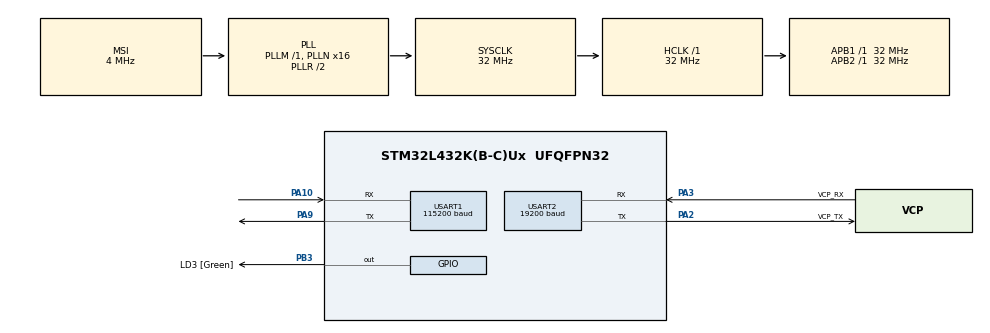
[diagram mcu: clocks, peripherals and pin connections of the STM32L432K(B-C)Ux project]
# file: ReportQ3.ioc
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Mcu.Family=STM32L4
Mcu.Name=STM32L432K(B-C)Ux
Mcu.Package=UFQFPN32
NVIC.PriorityGroup=NVIC_PRIORITYGROUP_4
NVIC.USART1_IRQn=true\:0\:0\:false\:false\:true\:true\:true
PA0.GPIO_Label=MCO [High speed clock in]
PA0.Signal=RCC_CK_IN
PA10.Mode=Asynchronous
PA10.Signal=USART1_RX
PA13\ (JTMS-SWDIO).GPIO_Label=SWDIO
PA13\ (JTMS-SWDIO).Mode=Serial_Wire
PA13\ (JTMS-SWDIO).Signal=SYS_JTMS-SWDIO
PA14\ (JTCK-SWCLK).GPIO_Label=SWCLK
PA14\ (JTCK-SWCLK).Mode=Serial_Wire
PA14\ (JTCK-SWCLK).Signal=SYS_JTCK-SWCLK
PA2.GPIO_Label=VCP_TX
PA2.Mode=Asynchronous
PA2.Signal=USART2_TX
PA3.GPIO_Label=VCP_RX
PA3.Mode=Asynchronous
PA3.Signal=USART2_RX
PA9.Mode=Asynchronous
PA9.Signal=USART1_TX
PB3\ (JTDO-TRACESWO).GPIO_Label=LD3 [Green]
PB3\ (JTDO-TRACESWO).Signal=GPIO_Output
PC14-OSC32_IN\ (PC14).Mode=LSE-External-Oscillator
PC14-OSC32_IN\ (PC14).Signal=RCC_OSC32_IN
PC15-OSC32_OUT\ (PC15).Mode=LSE-External-Oscillator
PC15-OSC32_OUT\ (PC15).Signal=RCC_OSC32_OUT
ProjectManager.HeapSize=0x200
ProjectManager.StackSize=0x400
ProjectManager.TargetToolchain=MDK-ARM V5.32
RCC.AHBFreq_Value=32000000
RCC.APB1Freq_Value=32000000
RCC.APB1TimFreq_Value=32000000
RCC.APB2Freq_Value=32000000
RCC.APB2TimFreq_Value=32000000
RCC.CortexFreq_Value=32000000
RCC.HCLKFreq_Value=32000000
RCC.HSE_VALUE=8000000
RCC.HSI16_VALUE=16000000
RCC.HSI48_VALUE=48000000
RCC.HSI_VALUE=16000000
RCC.MSI_VALUE=4000000
RCC.PLLMUL=RCC_PLLMUL_4
RCC.PLLN=16
RCC.SYSCLKFreq_VALUE=32000000
RCC.SYSCLKSource=RCC_SYSCLKSOURCE_PLLCLK
RCC.VCOOutputFreq_Value=64000000
USART1.BaudRate=115200
USART1.VirtualMode-Asynchronous=VM_ASYNC
USART2.BaudRate=19200
USART2.VirtualMode-Asynchronous=VM_ASYNC
board=NUCLEO-L432KC

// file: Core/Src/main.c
/* USER CODE BEGIN Header */
/**
  ******************************************************************************
  * @file           : main.c
  * @brief          : Main program body
  ******************************************************************************
  * @attention
  *
  * <h2><center>&copy; Copyright (c) 2024 STMicroelectronics.
  * All rights reserved.</center></h2>
  *
  * This software component is licensed by ST under BSD 3-Clause license,
  * the "License"; You may not use this file except in compliance with the
  * License. You may obtain a copy of the License at:
  *                        opensource.org/licenses/BSD-3-Clause
  *
  ******************************************************************************
  */
/* USER CODE END Header */
#include "main.h"

UART_HandleTypeDef huart1;
UART_HandleTypeDef huart2;

/* USER CODE BEGIN PV */
extern int received;
extern uint8_t myBuff[1];
volatile char direction = 0; // 1 - forward, 2 - right, 3 - back, 4 - left
volatile int speed = -1;
volatile int horn = 0;
/* USER CODE END PV */

void SystemClock_Config(void);
static void MX_GPIO_Init(void);
static void MX_USART1_UART_Init(void);
static void MX_USART2_UART_Init(void);

int main(void)
{

  /* MCU Configuration--------------------------------------------------------*/

  /* Reset of all peripherals, Initializes the Flash interface and the Systick. */
  HAL_Init();

  /* Configure the system clock */
  SystemClock_Config();

  /* Initialize all configured peripherals */
  MX_GPIO_Init();
  MX_USART1_UART_Init();
  MX_USART2_UART_Init();
  /* USER CODE BEGIN 2 */
	__HAL_UART_ENABLE_IT(&huart1, UART_IT_RXNE);
	uint8_t forwardRight = 0xC2;
	uint8_t forwardLeft = 0xCA;
	uint8_t backwardRight = 0xC1;
	uint8_t backwardLeft = 0xC9;
	uint8_t speeds[6] = {0x25, 0x33 ,0x4c, 0x5c, 0x66, 0x7F};
	uint8_t zero[1] = {0};

  /* USER CODE END 2 */

  /* Infinite loop */
  /* USER CODE BEGIN WHILE */
  while (1)
  {
 		if(received == 3){
			if(direction == 1){
				// forward
				HAL_UART_Transmit(&huart2, &forwardRight, 1, 100);
				HAL_UART_Transmit(&huart2, &speeds[speed], 1, 100);
				HAL_UART_Transmit(&huart2, &forwardLeft, 1, 100);
				HAL_UART_Transmit(&huart2, &speeds[speed], 1, 100);
			}else if(direction == 2){
				// right
				HAL_UART_Transmit(&huart2, &forwardRight, 1, 100);
				HAL_UART_Transmit(&huart2, &speeds[speed], 1, 100);
				HAL_UART_Transmit(&huart2, &backwardLeft, 1, 100);
				HAL_UART_Transmit(&huart2, &speeds[speed], 1, 100);
			}else if(direction == 3){
				// back
				HAL_UART_Transmit(&huart2, &backwardRight, 1, 100);
				HAL_UART_Transmit(&huart2, &speeds[speed], 1, 100);
				HAL_UART_Transmit(&huart2, &backwardLeft, 1, 100);
				HAL_UART_Transmit(&huart2, &speeds[speed], 1, 100);
			}else if(direction == 4){
				// left
				HAL_UART_Transmit(&huart2, &backwardRight, 1, 100);
				HAL_UART_Transmit(&huart2, &speeds[speed], 1, 100);
				HAL_UART_Transmit(&huart2, &forwardLeft, 1, 100);
				HAL_UART_Transmit(&huart2, &speeds[speed], 1, 100);

			}else if(direction == 5){
				HAL_UART_Transmit(&huart2, &forwardRight, 1, 100);
				HAL_UART_Transmit(&huart2, &zero[0], 1, 100);
				HAL_UART_Transmit(&huart2, &forwardLeft, 1, 100);
				HAL_UART_Transmit(&huart2, &zero[0], 1, 100);

			}
			if(horn){
				HAL_GPIO_WritePin(GPIOB, GPIO_PIN_3, GPIO_PIN_SET);
			}else{
				HAL_GPIO_WritePin(GPIOB, GPIO_PIN_3, GPIO_PIN_RESET);
			}
			HAL_Delay(100);
			direction = 0;
			speed = -1;
			myBuff[0] = 0;
			received = 0;
			horn = 0;
			}

    /* USER CODE END WHILE */
		}
  }

void SystemClock_Config(void)
{
  RCC_OscInitTypeDef RCC_OscInitStruct = {0};
  RCC_ClkInitTypeDef RCC_ClkInitStruct = {0};

  /** Configure the main internal regulator output voltage
  */
  if (HAL_PWREx_ControlVoltageScaling(PWR_REGULATOR_VOLTAGE_SCALE1) != HAL_OK)
  {
    Error_Handler();
  }
  /** Configure LSE Drive Capability
  */
  HAL_PWR_EnableBkUpAccess();
  __HAL_RCC_LSEDRIVE_CONFIG(RCC_LSEDRIVE_LOW);
  /** Initializes the RCC Oscillators according to the specified parameters
  * in the RCC_OscInitTypeDef structure.
  */
  RCC_OscInitStruct.OscillatorType = RCC_OSCILLATORTYPE_LSE|RCC_OSCILLATORTYPE_MSI;
  RCC_OscInitStruct.LSEState = RCC_LSE_ON;
  RCC_OscInitStruct.MSIState = RCC_MSI_ON;
  RCC_OscInitStruct.MSICalibrationValue = 0;
  RCC_OscInitStruct.MSIClockRange = RCC_MSIRANGE_6;
  RCC_OscInitStruct.PLL.PLLState = RCC_PLL_ON;
  RCC_OscInitStruct.PLL.PLLSource = RCC_PLLSOURCE_MSI;
  RCC_OscInitStruct.PLL.PLLM = 1;
  RCC_OscInitStruct.PLL.PLLN = 16;
  RCC_OscInitStruct.PLL.PLLP = RCC_PLLP_DIV7;
  RCC_OscInitStruct.PLL.PLLQ = RCC_PLLQ_DIV2;
  RCC_OscInitStruct.PLL.PLLR = RCC_PLLR_DIV2;
  if (HAL_RCC_OscConfig(&RCC_OscInitStruct) != HAL_OK)
  {
    Error_Handler();
  }
  /** Initializes the CPU, AHB and APB buses clocks
  */
  RCC_ClkInitStruct.ClockType = RCC_CLOCKTYPE_HCLK|RCC_CLOCKTYPE_SYSCLK
                              |RCC_CLOCKTYPE_PCLK1|RCC_CLOCKTYPE_PCLK2;
  RCC_ClkInitStruct.SYSCLKSource = RCC_SYSCLKSOURCE_PLLCLK;
  RCC_ClkInitStruct.AHBCLKDivider = RCC_SYSCLK_DIV1;
  RCC_ClkInitStruct.APB1CLKDivider = RCC_HCLK_DIV1;
  RCC_ClkInitStruct.APB2CLKDivider = RCC_HCLK_DIV1;

  if (HAL_RCC_ClockConfig(&RCC_ClkInitStruct, FLASH_LATENCY_1) != HAL_OK)
  {
    Error_Handler();
  }
  /** Enable MSI Auto calibration
  */
  HAL_RCCEx_EnableMSIPLLMode();
}

static void MX_USART1_UART_Init(void)
{

  huart1.Instance = USART1;
  huart1.Init.BaudRate = 115200;
  huart1.Init.WordLength = UART_WORDLENGTH_8B;
  huart1.Init.StopBits = UART_STOPBITS_1;
  huart1.Init.Parity = UART_PARITY_NONE;
  huart1.Init.Mode = UART_MODE_TX_RX;
  huart1.Init.HwFlowCtl = UART_HWCONTROL_NONE;
  huart1.Init.OverSampling = UART_OVERSAMPLING_16;
  huart1.Init.OneBitSampling = UART_ONE_BIT_SAMPLE_DISABLE;
  huart1.AdvancedInit.AdvFeatureInit = UART_ADVFEATURE_NO_INIT;
  if (HAL_UART_Init(&huart1) != HAL_OK)
  {
    Error_Handler();
  }

}

static void MX_USART2_UART_Init(void)
{

  huart2.Instance = USART2;
  huart2.Init.BaudRate = 19200;
  huart2.Init.WordLength = UART_WORDLENGTH_8B;
  huart2.Init.StopBits = UART_STOPBITS_1;
  huart2.Init.Parity = UART_PARITY_NONE;
  huart2.Init.Mode = UART_MODE_TX_RX;
  huart2.Init.HwFlowCtl = UART_HWCONTROL_NONE;
  huart2.Init.OverSampling = UART_OVERSAMPLING_16;
  huart2.Init.OneBitSampling = UART_ONE_BIT_SAMPLE_DISABLE;
  huart2.AdvancedInit.AdvFeatureInit = UART_ADVFEATURE_NO_INIT;
  if (HAL_UART_Init(&huart2) != HAL_OK)
  {
    Error_Handler();
  }

}

static void MX_GPIO_Init(void)
{
  GPIO_InitTypeDef GPIO_InitStruct = {0};

  /* GPIO Ports Clock Enable */
  __HAL_RCC_GPIOC_CLK_ENABLE();
  __HAL_RCC_GPIOA_CLK_ENABLE();
  __HAL_RCC_GPIOB_CLK_ENABLE();

  /*Configure GPIO pin Output Level */
  HAL_GPIO_WritePin(LD3_GPIO_Port, LD3_Pin, GPIO_PIN_RESET);

  /*Configure GPIO pin : LD3_Pin */
  GPIO_InitStruct.Pin = LD3_Pin;
  GPIO_InitStruct.Mode = GPIO_MODE_OUTPUT_PP;
  GPIO_InitStruct.Pull = GPIO_NOPULL;
  GPIO_InitStruct.Speed = GPIO_SPEED_FREQ_LOW;
  HAL_GPIO_Init(LD3_GPIO_Port, &GPIO_InitStruct);

}

void Error_Handler(void)
{
  __disable_irq();
  while (1)
  {
  }
}

/************************ (C) COPYRIGHT STMicroelectronics *****END OF FILE****/
